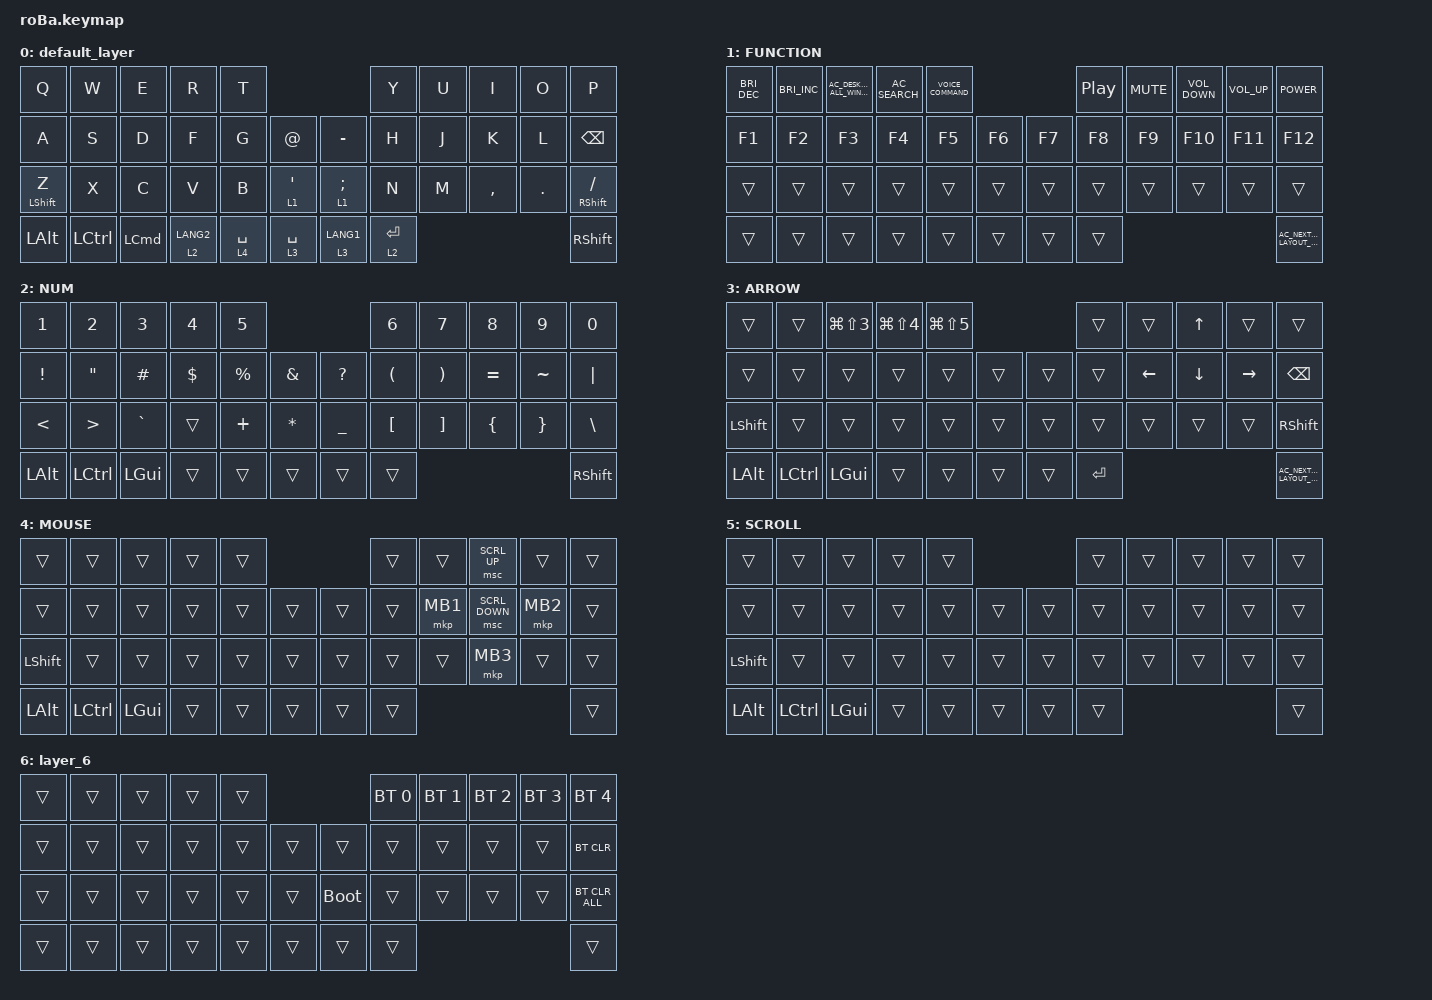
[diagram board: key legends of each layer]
#include <behaviors.dtsi>
#include <dt-bindings/zmk/bt.h>
#include <dt-bindings/zmk/keys.h>
#include <dt-bindings/zmk/pointing.h>
#include <input/processors.dtsi>

// AML (auto mouse layer) を ZMK 本体の temp-layer 入力プロセッサで実装。
// ドライバ内蔵の automouse-layer と違い、
//  - require-prior-idle-ms: タイピング直後はボールが動いてもレイヤーを発動しない
//  - マウスキー以外のキー押下で即座にレイヤー解除
// により文字モードとの切り替え誤爆を防ぐ。
&zip_temp_layer {
    require-prior-idle-ms = <400>;
    // レイヤーを解除しないキー位置:
    //  7=SCRL_UP(I) 18=MB1(J) 19=SCRL_DOWN(K) 20=MB2(L) 31=MB3(,)
    //  22=Shift 34=Alt 35=Ctrl 36=GUI (修飾キー+クリック用)
    excluded-positions = <7 18 19 20 22 31 34 35 36>;
};

&trackball_listener {
    // ボール操作でレイヤー4(MOUSE)を有効化、最終入力から600msで解除
    input-processors = <&zip_temp_layer 4 600>;
};

&mt {
    flavor = "tap-preferred";
    tapping-term-ms = <200>;
    quick-tap-ms = <150>;
};

&trackball {
    // automouse-layer = <4>;
    scroll-layers = <5>;

    // arrows {
    //     layers = <3>;
    //     bindings =
    //         <&kp RIGHT_ARROW>,
    //         <&kp LEFT_ARROW>,
    //         <&kp UP_ARROW>,
    //         <&kp DOWN_ARROW>;
    //     tick = <10>;
    //     wait-ms = <5>;
    //     tap-ms = <5>;
    // };
};

/ {
    combos {
        compatible = "zmk,combos";

        esc {
            bindings = <&kp ESC>;
            key-positions = <0 1>;
        };

        tab {
            bindings = <&kp TAB>;
            key-positions = <10 11>;
        };

        scroll {
            bindings = <&mo 5>;
            key-positions = <18 19>;
        };

        capslock_ {
            bindings = <&mo 6>;
            key-positions = <34 39>;
        };
    };

    macros {
        to_layer_0: to_layer_0 {
            compatible = "zmk,behavior-macro-one-param";
            #binding-cells = <1>;
            bindings = <&to 0 &macro_param_1to1 &kp MACRO_PLACEHOLDER>;
            label = "TO_LAYER_0";
        };
    };

    behaviors {
        lt_to_layer_0: lt_to_layer_0 {
            compatible = "zmk,behavior-hold-tap";
            label = "LAYER_TAP_TO_0";
            bindings = <&mo>, <&to_layer_0>;

            #binding-cells = <2>;
            tapping-term-ms = <200>;
        };
    };

    keymap {
        compatible = "zmk,keymap";

        default_layer {
            bindings = <
&kp Q             &kp W      &kp E             &kp R                   &kp T                                                 &kp Y        &kp U  &kp I      &kp O       &kp P
&kp A             &kp S      &kp D             &kp F                   &kp G        &kp AT                  &kp MINUS        &kp H        &kp J  &kp K      &kp L       &kp BACKSPACE
&mt LEFT_SHIFT Z  &kp X      &kp C             &kp V                   &kp B        &lt 1 SINGLE_QUOTE      &lt 1 SEMICOLON  &kp N        &kp M  &kp COMMA  &kp PERIOD  &mt RIGHT_SHIFT SLASH
&kp LEFT_ALT      &kp LCTRL  &kp LEFT_COMMAND  &lt_to_layer_0 2 LANG2  &lt 4 SPACE  &lt 3 SPACE             &lt 3 LANG1      &lt 2 ENTER                                &kp RIGHT_SHIFT
            >;
        };

        FUNCTION {
            bindings = <
&kp C_BRIGHTNESS_DEC  &kp C_BRIGHTNESS_INC  &kp C_AC_DESKTOP_SHOW_ALL_WINDOWS  &kp C_AC_SEARCH  &kp C_VOICE_COMMAND                      &kp C_PLAY_PAUSE  &kp K_MUTE  &kp C_VOLUME_DOWN  &kp C_VOLUME_UP  &kp C_POWER
&kp F1                &kp F2                &kp F3                             &kp F4           &kp F5               &kp F6      &kp F7  &kp F8            &kp F9      &kp F10            &kp F11          &kp F12
&trans                &trans                &trans                             &trans           &trans               &trans      &trans  &trans            &trans      &trans             &trans           &trans
&trans                &trans                &trans                             &trans           &trans               &trans      &trans  &trans                                                            &kp C_AC_NEXT_KEYBOARD_LAYOUT_SELECT
            >;
        };

        NUM {
            bindings = <
&kp N1           &kp N2             &kp N3        &kp N4      &kp N5                                          &kp N6                &kp N7                 &kp N8          &kp N9           &kp N0
&kp EXCLAMATION  &kp DOUBLE_QUOTES  &kp HASH      &kp DOLLAR  &kp PERCENT  &kp AMPERSAND      &kp QUESTION    &kp LEFT_PARENTHESIS  &kp RIGHT_PARENTHESIS  &kp EQUAL       &kp TILDE        &kp PIPE
&kp LESS_THAN    &kp GREATER_THAN   &kp GRAVE     &trans      &kp PLUS     &kp ASTERISK       &kp UNDERSCORE  &kp LEFT_BRACKET      &kp RIGHT_BRACKET      &kp LEFT_BRACE  &kp RIGHT_BRACE  &kp BACKSLASH
&kp LEFT_ALT     &kp LCTRL          &kp LEFT_GUI  &trans      &trans       &trans             &trans          &trans                                                                        &kp RIGHT_SHIFT
            >;
        };

        ARROW {
            bindings = <
&trans          &trans     &kp LG(LS(NUMBER_3))  &kp LG(LS(NUMBER_4))  &kp LG(LS(NUMBER_5))                      &trans     &trans    &kp UP    &trans     &trans
&trans          &trans     &trans                &trans                &trans                &trans      &trans  &trans     &kp LEFT  &kp DOWN  &kp RIGHT  &kp BACKSPACE
&kp LEFT_SHIFT  &trans     &trans                &trans                &trans                &trans      &trans  &trans     &trans    &trans    &trans     &kp RSHFT
&kp LEFT_ALT    &kp LCTRL  &kp LEFT_GUI          &trans                &trans                &trans      &trans  &kp ENTER                                 &kp C_AC_NEXT_KEYBOARD_LAYOUT_SELECT
            >;
        };

        MOUSE {
            bindings = <
&trans          &trans                &trans        &trans                 &trans                         &trans  &trans    &msc SCRL_UP    &trans    &trans
&trans          &trans                &trans        &trans                 &trans     &trans      &trans  &trans  &mkp MB1  &msc SCRL_DOWN  &mkp MB2  &trans
&kp LEFT_SHIFT  &trans                &trans        &trans                 &trans     &trans      &trans  &trans  &trans    &mkp MB3        &trans    &trans
&kp LEFT_ALT    &kp LCTRL             &kp LEFT_GUI  &trans                 &trans     &trans      &trans  &trans                                      &trans
            >;
        };

        SCROLL {
            bindings = <
&trans          &trans     &trans        &trans  &trans                      &trans  &trans  &trans  &trans  &trans
&trans          &trans     &trans        &trans  &trans  &trans      &trans  &trans  &trans  &trans  &trans  &trans
&kp LEFT_SHIFT  &trans     &trans        &trans  &trans  &trans      &trans  &trans  &trans  &trans  &trans  &trans
&kp LEFT_ALT    &kp LCTRL  &kp LEFT_GUI  &trans  &trans  &trans      &trans  &trans                          &trans
            >;
        };

        layer_6 {
            bindings = <
&trans  &trans  &trans  &trans  &trans                           &bt BT_SEL 0  &bt BT_SEL 1  &bt BT_SEL 2  &bt BT_SEL 3  &bt BT_SEL 4
&trans  &trans  &trans  &trans  &trans  &trans      &trans       &trans        &trans        &trans        &trans        &bt BT_CLR
&trans  &trans  &trans  &trans  &trans  &trans      &bootloader  &trans        &trans        &trans        &trans        &bt BT_CLR_ALL
&trans  &trans  &trans  &trans  &trans  &trans      &trans       &trans                                                  &trans
            >;
        };
    };
};
